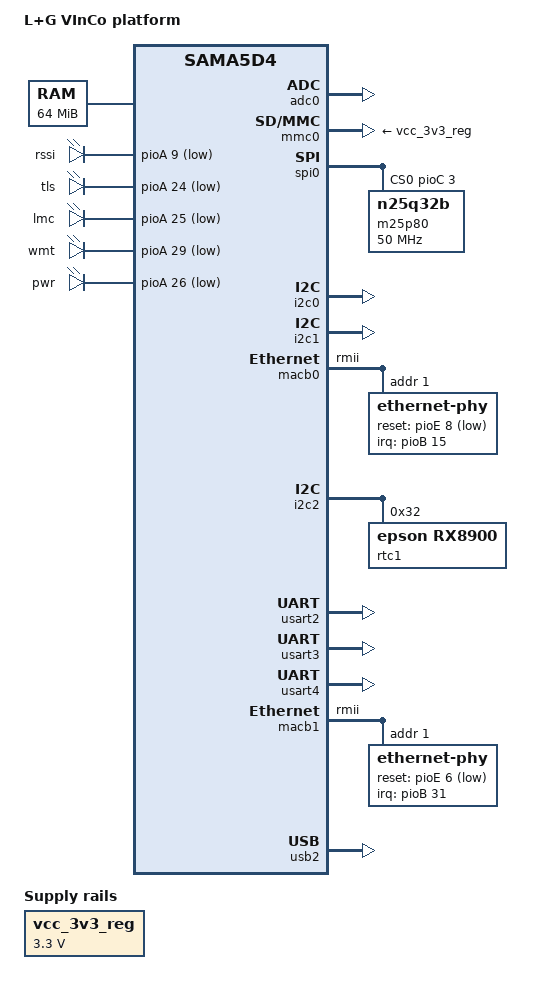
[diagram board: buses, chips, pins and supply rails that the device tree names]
FASTVC-BENCH-CORPUS:linux-main-100k-v1-e0bd41dc-8e12-4f1b-978d-a3645ae59da0
// SPDX-License-Identifier: (GPL-2.0+ OR MIT)
/*
 * Device Tree file for VInCo platform
 *
 *  Copyright (C) 2014 Atmel,
 *                2014 Nicolas Ferre <nicolas.ferre@atmel.com>
 *   2015 Gregory CLEMENT <gregory.clement@free-electrons.com>
 */
/dts-v1/;
#include "sama5d4.dtsi"

/ {
	model = "L+G VInCo platform";
	compatible = "l+g,vinco", "atmel,sama5d4", "atmel,sama5";

	chosen {
		stdout-path = "serial0:115200n8";
	};

	memory@20000000 {
		reg = <0x20000000 0x4000000>;
	};

	clocks {
		slow_xtal {
			clock-frequency = <32768>;
		};

		main_xtal {
			clock-frequency = <12000000>;
		};
	};

	ahb {
		apb {

			adc0: adc@fc034000 {
				status = "okay"; /* Enable ADC IIO support */
			};

/* bench 17465.0.0 4b17d7357ebf */
/* bench 17465.0.1 c00023368936 */
/* bench 17465.0.2 452438c8020c */
/* bench 17465.0.3 ff72942277b0 */
/* bench 17465.0.4 62f18b65826f */
/* bench 17465.0.5 7134a882f3fc */
/* bench 17465.0.6 9451d5085e88 */
/* bench 17465.0.7 167526e20c4e */
/* bench 17465.0.8 8868ce5be185 */
/* bench 17465.0.9 5421f444f8e6 */
			mmc0: mmc@f8000000 {
				pinctrl-names = "default";
				pinctrl-0 = <&pinctrl_mmc0_clk_cmd_dat0
					     &pinctrl_mmc0_dat1_3
					     &pinctrl_mmc0_dat4_7>;
/* bench 5001.0.0 89810d462105 */
/* bench 5001.0.1 09572acae937 */
/* bench 5001.0.2 e41bf0a47420 */
/* bench 5001.0.3 813df450bd45 */
/* bench 5001.0.4 012b9b884bf9 */
/* bench 5001.0.5 e966ce7e9103 */
/* bench 5001.0.6 18b846d571ae */
/* bench 20168.3.0 c19975fc86d1 */
/* bench 20168.3.1 a304bfa5dfed */
/* bench 20168.3.2 cdb7777dc4b7 */
/* bench 20168.3.3 455a21514f54 */
/* bench 20168.3.4 e47ae342017a */
/* bench 20168.3.5 dcc3ffbc6ee0 */
/* bench 20168.3.6 9124bd78d8dd */
/* bench 20168.3.7 bccb3c16e044 */
/* bench 20168.3.8 a3f0e52f206c */
/* bench 5001.0.7 0edcaa7f9826 */
				vqmmc-supply = <&vcc_3v3_reg>;
				vmmc-supply = <&vcc_3v3_reg>;
				no-1-8-v;
				status = "okay";
				slot@0 {
					reg = <0>;
					bus-width = <8>;
					non-removable;
					broken-cd;
					status = "okay";
				};
			};

			spi0: spi@f8010000 {
				cs-gpios = <&pioC 3 0>, <0>, <0>, <0>;
				status = "okay";
				m25p80@0 {
					compatible = "n25q32b", "jedec,spi-nor";
					spi-max-frequency = <50000000>;
					reg = <0>;
				};
			};

			i2c0: i2c@f8014000 {
				status = "okay";
			};

			i2c1: i2c@f8018000 {
				status = "okay";
				/* kerkey security module */
			};

			macb0: ethernet@f8020000 {
				phy-mode = "rmii";
				status = "okay";

				ethernet-phy@1 {
					reg = <0x1>;
					reset-gpios = <&pioE 8 GPIO_ACTIVE_LOW>;
					interrupt-parent = <&pioB>;
					interrupts = <15 IRQ_TYPE_EDGE_FALLING>;
				};

			};

			i2c2: i2c@f8024000 {
				status = "okay";

				rtc1: rtc@32 {
					compatible = "epson,rx8900";
					reg = <0x32>;
				};
			};

			usart2: serial@fc008000 {
				/* MBUS */
				status = "okay";
			};

			usart3: serial@fc00c000 {
				/* debug */
				status = "okay";
			};

			usart4: serial@fc010000 {
				/* LMN */
				pinctrl-0 = <&pinctrl_usart4 &pinctrl_usart4_rts>;
				linux,rs485-enabled-at-boot-time;
				status = "okay";
			};

			tcb2: timer@fc024000 {
				timer@0 {
					compatible = "atmel,tcb-timer";
					reg = <0>;
				};

				timer@1 {
					compatible = "atmel,tcb-timer";
					reg = <1>;
				};
			};

			macb1: ethernet@fc028000 {
				phy-mode = "rmii";
				status = "okay";
				#address-cells = <1>;
				#size-cells = <0>;
				status = "okay";

				ethernet-phy@1 {
					reg = <0x1>;
					interrupt-parent = <&pioB>;
					interrupts = <31 IRQ_TYPE_EDGE_FALLING>;
					reset-gpios = <&pioE 6 GPIO_ACTIVE_LOW>;
				};
			};

			watchdog@fc068640 {
				status = "okay";
			};

			pinctrl@fc06a000 {
				board {
					pinctrl_usba_vbus: usba_vbus {
						atmel,pins =
						<AT91_PIOE 31 AT91_PERIPH_GPIO AT91_PINCTRL_DEGLITCH>;
					};
				};
			};
		};

		usb0: gadget@400000 {
			atmel,vbus-gpio = <&pioE 31 GPIO_ACTIVE_HIGH>;
			pinctrl-names = "default";
			pinctrl-0 = <&pinctrl_usba_vbus>;
			status = "disable";
		};

		usb1: ohci@500000 {
			num-ports = <3>;
			atmel,vbus-gpio = <0
					   &pioE 11 GPIO_ACTIVE_LOW
					   &pioE 12 GPIO_ACTIVE_LOW
					  >;
			status = "disable";
		};

		usb2: ehci@600000 {
			/* 4G Modem */
			status = "okay";
		};

	};

	leds {
		compatible = "gpio-leds";
		status = "okay";

		led_err {
			label = "err";
			gpios = <&pioA 7 GPIO_ACTIVE_LOW>;
			default-state = "off";
/* bench 7584.0.0 aa36114ca79b */
			label = "rssi";
			gpios = <&pioA 9 GPIO_ACTIVE_LOW>;
			default-state = "off";
		};

		led_tls {
			label = "tls";
			gpios = <&pioA 24 GPIO_ACTIVE_LOW>;
			default-state = "off";
		};

		led_lmc {
			label = "lmc";
			gpios = <&pioA 25 GPIO_ACTIVE_LOW>;
			default-state = "off";
		};

		led_wmt {
			label = "wmt";
			gpios = <&pioA 29 GPIO_ACTIVE_LOW>;
			default-state = "off";
		};

		led_pwr {
			label = "pwr";
			gpios = <&pioA 26 GPIO_ACTIVE_LOW>;
			default-state = "on";
		};

	};

	vcc_3v3_reg: fixedregulator_3v3 {
		compatible = "regulator-fixed";
		regulator-name = "VCC 3V3";
		regulator-min-microvolt = <3300000>;
		regulator-max-microvolt = <3300000>;
		regulator-boot-on;
		regulator-always-on;
	};
};
